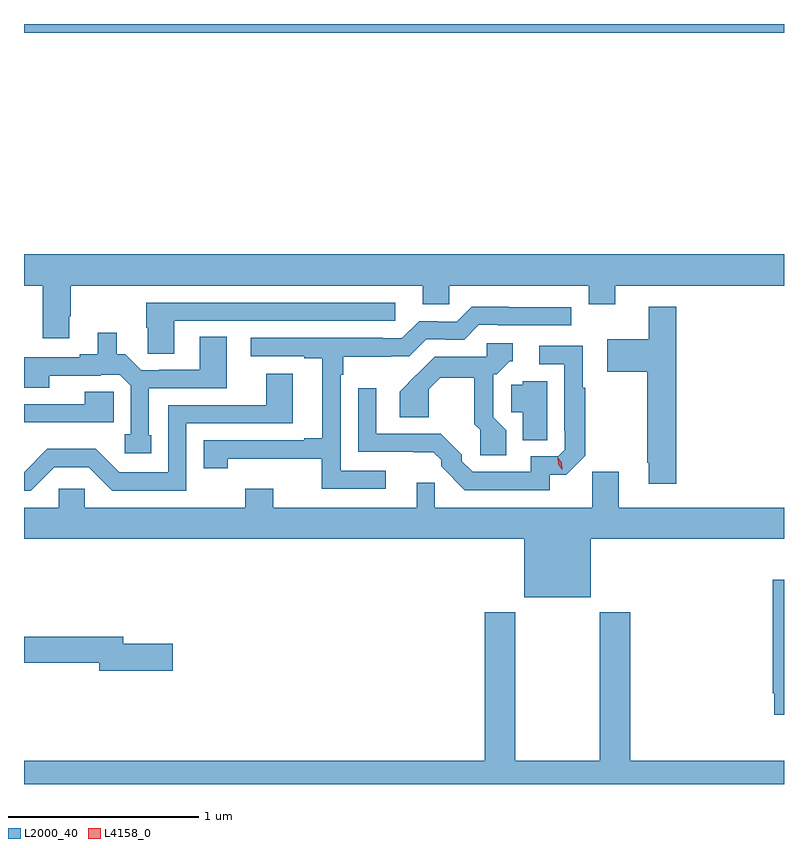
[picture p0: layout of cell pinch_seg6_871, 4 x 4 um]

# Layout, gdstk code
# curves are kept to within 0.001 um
import gdstk
lib = gdstk.Library(unit=1e-6, precision=1e-09)
def R(c, l, rs):  # rectangles x0, y0, x1, y1
    for r in rs: c.add(gdstk.rectangle(r[:2], r[2:], *l))
def P(c, l, *ps):  # polygons
    for p in ps: c.add(gdstk.Polygon(p, *l))
L2000_40 = (2000, 40)
L4158_0 = (4158, 0)

pinch_seg6_871 = lib.new_cell('pinch_seg6_871')
R(pinch_seg6_871, L2000_40, [(218.451,955.328,222.451,955.373)])
P(pinch_seg6_871, L2000_40, [(218.451,953.996),(218.549,953.996),(218.549,953.718),(218.689,953.718),(218.689,953.836),(218.697,953.836),(218.697,953.996),(220.55,953.996),(220.55,953.898),(220.689,953.898),(220.689,953.996),(221.423,953.996),(221.423,953.897),(221.563,953.897),(221.563,953.996),(222.451,953.996),(222.451,954.16),(218.451,954.16)],
  [(219.241,953.811),(220.405,953.811),(220.405,953.907),(219.094,953.907),(219.094,953.775),(219.103,953.775),(219.103,953.638),(219.241,953.638)],
  [(221.885,953.884),(221.738,953.884),(221.738,953.713),(221.52,953.713),(221.52,953.543),(221.731,953.543),(221.731,953.065),(221.738,953.065),(221.738,952.953),(221.885,952.953)],
  [(220.354,953.022),(220.119,953.022),(220.119,953.528),(220.132,953.528),(220.132,953.622),(220.382,953.622),(220.382,953.625),(220.479,953.625),(220.569,953.715),(220.67,953.715),(220.67,953.712),(220.767,953.712),(220.845,953.79),(220.945,953.79),(220.945,953.787),(221.332,953.787),(221.332,953.883),(220.807,953.884),(220.728,953.805),(220.628,953.805),(220.628,953.808),(220.53,953.808),(220.44,953.718),(220.34,953.718),(220.34,953.721),(219.645,953.721),(219.645,953.625),(219.926,953.625),(219.926,953.613),(220.022,953.613),(220.022,953.194),(219.926,953.194),(219.926,953.181),(219.396,953.181),(219.396,953.034),(219.524,953.034),(219.524,953.084),(220.018,953.084),(220.018,952.926),(220.354,952.926)],
  [(219.121,953.208),(219.108,953.208),(219.108,953.457),(219.517,953.457),(219.517,953.726),(219.377,953.726),(219.377,953.553),(219.163,953.553),(219.163,953.55),(219.069,953.55),(218.985,953.634),(218.938,953.634),(218.938,953.749),(218.84,953.749),(218.84,953.634),(218.744,953.634),(218.744,953.619),(218.451,953.619),(218.451,953.458),(218.583,953.458),(218.583,953.523),(218.855,953.523),(218.855,953.526),(218.955,953.526),(219.012,953.469),(219.012,953.214),(218.982,953.214),(218.982,953.115),(219.121,953.115)],
  [(220.99,953.234),(220.92,953.304),(220.92,953.529),(220.938,953.529),(221.007,953.598),(221.023,953.598),(221.023,953.694),(220.887,953.694),(220.887,953.622),(220.613,953.622),(220.516,953.525),(220.515,953.526),(220.428,953.438),(220.428,953.302),(220.582,953.302),(220.582,953.45),(220.643,953.511),(220.822,953.511),(220.822,953.266),(220.851,953.237),(220.851,953.103),(220.99,953.103)],
  [(221.217,953.001),(221.306,953.001),(221.406,953.1),(221.406,953.459),(221.391,953.459),(221.391,953.679),(221.163,953.679),(221.163,953.583),(221.295,953.583),(221.295,953.233),(221.298,953.233),(221.298,953.133),(221.262,953.097),(221.118,953.097),(221.118,953.016),(220.812,953.016),(220.755,953.073),(220.755,953.107),(220.645,953.217),(220.305,953.217),(220.305,953.455),(220.209,953.455),(220.209,953.121),(220.606,953.12),(220.647,953.08),(220.647,953.045),(220.772,952.92),(221.217,952.92)],
  [(218.61,953.04),(218.793,953.04),(218.916,952.917),(219.306,952.917),(219.306,953.271),(219.865,953.271),(219.865,953.533),(219.725,953.533),(219.725,953.367),(219.21,953.367),(219.21,953.013),(218.952,953.013),(218.828,953.137),(218.574,953.137),(218.451,953.014),(218.451,952.917),(218.487,952.917)],
  [(221.205,953.494),(221.076,953.494),(221.076,953.475),(221.016,953.475),(221.016,953.33),(221.075,953.33),(221.075,953.182),(221.205,953.182)],
  [(218.813,953.277),(218.923,953.277),(218.923,953.438),(218.77,953.438),(218.77,953.373),(218.451,953.373),(218.451,953.276),(218.813,953.276)],
  [(221.434,952.664),(222.451,952.664),(222.451,952.828),(221.581,952.828),(221.581,953.016),(221.443,953.016),(221.443,952.828),(220.613,952.828),(220.613,952.958),(220.517,952.958),(220.517,952.828),(219.763,952.828),(219.763,952.927),(219.616,952.927),(219.616,952.828),(218.772,952.828),(218.772,952.926),(218.634,952.926),(218.634,952.828),(218.451,952.828),(218.451,952.664),(221.084,952.664),(221.084,952.355),(221.434,952.355)],
  [(222.451,952.448),(222.391,952.448),(222.391,951.85),(222.399,951.85),(222.399,951.738),(222.451,951.738)],
  [(222.451,951.496),(221.642,951.496),(221.642,952.276),(221.482,952.276),(221.482,951.496),(221.037,951.496),(221.037,952.276),(220.877,952.276),(220.877,951.496),(218.451,951.496),(218.451,951.373),(222.451,951.373)],
  [(219.235,952.112),(218.974,952.112),(218.974,952.148),(218.451,952.148),(218.451,952.012),(218.846,952.012),(218.846,951.97),(219.235,951.97)])
P(pinch_seg6_871, L4158_0, [(221.285,953.026),(221.285,953.026),(221.263,953.056),(221.259,953.092),(221.259,953.092),(221.259,953.092),(221.281,953.063),(221.285,953.026)])

lib.write_gds('pinch_seg6_871.gds')
